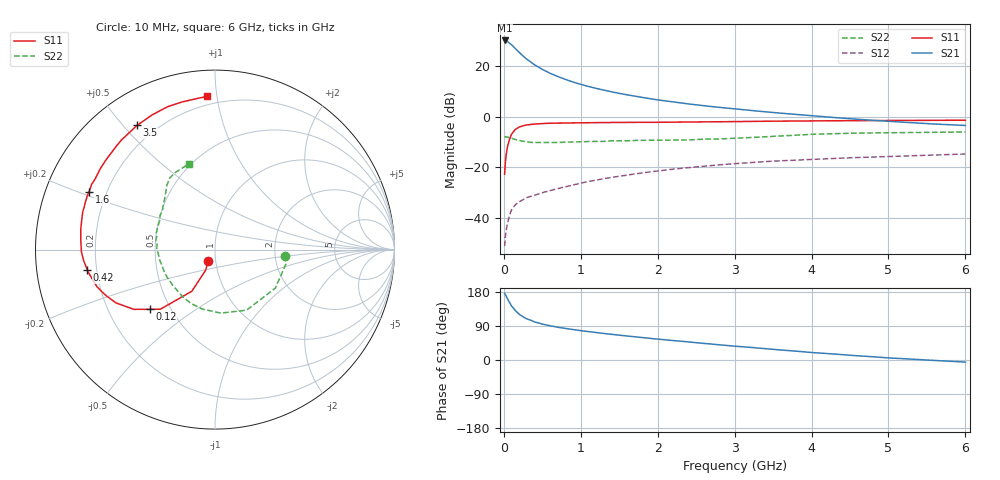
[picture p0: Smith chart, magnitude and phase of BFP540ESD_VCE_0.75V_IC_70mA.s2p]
! Infineon Technologies  Discrete & RF Semiconductors
! BFP540ESD
! VCE = 0.75 V,  IC =  70 mA
! Common Emitter S-Parameters:  Nov 2015
# GHz  S  MA  R  50
!  f  S11  S21  S12  S22
! GHz  MAG  ANG  MAG  ANG  MAG  ANG  MAG  ANG
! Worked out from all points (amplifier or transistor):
!   210 points, 10 MHz to 6 GHz, reference 50 ohm
!   highest |S21| = 30.3 dB at 10 MHz (marker M1)
!   |S21| within 3 dB of that: start of sweep to 141.8 MHz
!   unconditionally stable (mu >= 1): start of sweep to 94.22 MHz; 531.9 MHz to end of sweep
!   at 185 MHz: K = 0.81, MSG = 30.0 dB, |S12| = -34.1 dB
!   at 1.52 GHz: K = 1.26, MAG = 13.3 dB, |S12| = -23.5 dB
!   at 6 GHz: K = 1.30, MAG = 2.4 dB, |S12| = -14.8 dB
!   S11 on the Smith chart (normalised r, x): 10 MHz: 0.92, -0.11; 120 MHz: 0.38, -0.34; 420 MHz: 0.16, -0.08; 1.6 GHz: 0.13, +0.21; 3.5 GHz: 0.13, +0.55; 6 GHz: 0.15, +0.94
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0.01  0.0725 -121.2  32.7 176.2  0.0027 49.7  0.3907 -4.9
0.05  0.2658 -119.1  31.09 159.9  0.008 62.8  0.3989 -32.6
0.1  0.4504 -132.5  26.95 142.5  0.0142 58.0  0.3806 -62.5
0.12  0.4925 -137.5  25.03 138.0  0.0157 55.7  0.3639 -71.0
0.15  0.5613 -143.6  22.5 129.8  0.018 52.9  0.3553 -84.8
0.155  0.5673 -144.5  22.12 129.0  0.0183 52.5  0.3522 -86.5
0.2  0.6265 -151.7  18.89 120.6  0.0206 49.3  0.3384 -102.3
0.24  0.6561 -156.7  16.57 115.3  0.0223 49.1  0.3287 -112.4
0.3  0.6896 -162.6  13.81 108.3  0.0248 46.8  0.3174 -125.0
0.4  0.7174 -169.9  10.72 100.4  0.0277 48.1  0.3084 -139.8
0.42  0.7203 -171.0  10.31 99.4  0.0284 48.3  0.3074 -141.9
0.5  0.7343 -175.2  8.705 94.7  0.0311 49.2  0.3078 -150.4
0.7  0.7485 177.1  6.289 86.3  0.0377 51.7  0.3085 -163.9
0.8  0.7524 174.0  5.485 83.1  0.0405 52.0  0.3133 -168.8
1.02  0.7599 168.1  4.31 76.9  0.0488 53.1  0.3187 -177.2
1.6  0.7718 155.5  2.728 63.3  0.0699 51.7  0.3335 167.2
2.02  0.7771 147.8  2.142 54.8  0.0844 48.8  0.3421 159.7
3.1  0.8043 128.8  1.383 35.0  0.12 38.3  0.3802 139.2
3.5  0.8171 122.1  1.213 27.8  0.1317 34.0  0.4073 133.0
4.1  0.8296 113.5  1.019 18.5  0.1446 27.6  0.4528 125.8
5.1  0.8432 101.4  0.795 4.5  0.1642 18.0  0.4841 116.1
6  0.8542 93.0  0.672 -5.5  0.1822 10.7  0.4994 107.0
